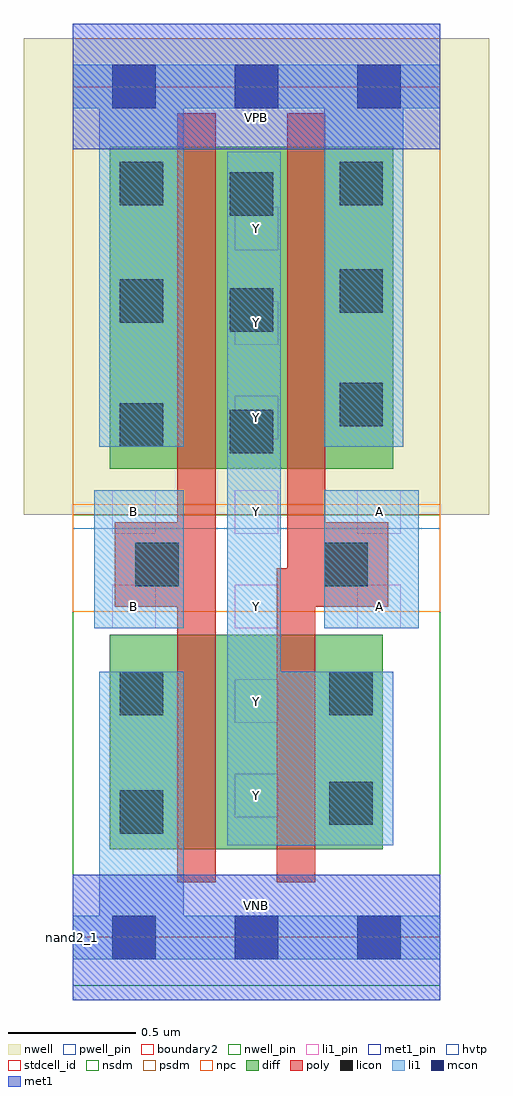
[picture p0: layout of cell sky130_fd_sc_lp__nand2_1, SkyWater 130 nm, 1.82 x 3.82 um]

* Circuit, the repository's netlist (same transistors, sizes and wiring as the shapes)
* Copyright 2020 The SkyWater PDK Authors
*
* Licensed under the Apache License, Version 2.0 (the "License");
* you may not use this file except in compliance with the License.
* You may obtain a copy of the License at
*
*     https://www.apache.org/licenses/LICENSE-2.0
*
* Unless required by applicable law or agreed to in writing, software
* distributed under the License is distributed on an "AS IS" BASIS,
* WITHOUT WARRANTIES OR CONDITIONS OF ANY KIND, either express or implied.
* See the License for the specific language governing permissions and
* limitations under the License.
*
* SPDX-License-Identifier: Apache-2.0

.SUBCKT sky130_fd_sc_lp__nand2_1 A B VGND VNB VPB VPWR Y
*.PININFO A:I B:I VGND:I VNB:I VPB:I VPWR:I Y:O
MMP0 Y A VPWR VPB sky130_fd_pr__pfet_01v8_hvt m=1 w=1.26U l=0.15U mult=1 sa=0.265
+ sb=0.265 sd=0.28 area=0.063 perim=1.14
MMP1 Y B VPWR VPB sky130_fd_pr__pfet_01v8_hvt m=1 w=1.26U l=0.15U mult=1 sa=0.265
+ sb=0.265 sd=0.28 area=0.063 perim=1.14
MMN0 Y A sndA VNB sky130_fd_pr__nfet_01v8 m=1 w=0.84U l=0.15U mult=1 sa=0.265 sb=0.265
+ sd=0.28 area=0.063 perim=1.14
MMN1 sndA B VGND VNB sky130_fd_pr__nfet_01v8 m=1 w=0.84U l=0.15U mult=1 sa=0.265
+ sb=0.265 sd=0.28 area=0.063 perim=1.14
.ENDS sky130_fd_sc_lp__nand2_1

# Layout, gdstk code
import gdstk
lib = gdstk.Library(unit=1e-6, precision=1e-09)
def R(c, l, rs):  # rectangles x0, y0, x1, y1
    for r in rs: c.add(gdstk.rectangle(r[:2], r[2:], *l))
def A(c, l, x, y, w, h, nx, ny, dx, dy):  # array of equal rectangles
    R(c, l, [(x+i*dx, y+j*dy, x+i*dx+w, y+j*dy+h) for i in range(nx) for j in range(ny)])
def P(c, l, *ps):  # polygons
    for p in ps: c.add(gdstk.Polygon(p, *l))
nwell_pin = (64, 16)
nwell = (64, 20)
diff = (65, 20)
poly = (66, 20)
licon = (66, 44)
li1_pin = (67, 16)
li1 = (67, 20)
mcon = (67, 44)
met1_pin = (68, 16)
met1 = (68, 20)
hvtp = (78, 44)
stdcell_id = (81, 4)
nsdm = (93, 44)
psdm = (94, 20)
npc = (95, 20)
pwell_pin = (122, 16)
boundary2 = (236, 0)

sky130_fd_sc_lp__nand2_1 = lib.new_cell('sky130_fd_sc_lp__nand2_1')
R(sky130_fd_sc_lp__nand2_1, nwell_pin, [(0,3.085,1.44,3.33)])
R(sky130_fd_sc_lp__nand2_1, nwell, [(-0.19,1.655,1.63,3.52)])
R(sky130_fd_sc_lp__nand2_1, diff, [(0.145,0.345,1.215,1.185), (0.145,1.835,1.255,3.095)])
P(sky130_fd_sc_lp__nand2_1, poly, [(0.56,3.225),(0.41,3.225),(0.41,1.625),(0.165,1.625),(0.165,1.295),(0.41,1.295),(0.41,0.215),(0.56,0.215)],
  [(1.235,1.625),(0.99,1.625),(0.99,3.225),(0.84,3.225),(0.84,1.445),(0.8,1.445),(0.8,0.215),(0.95,0.215),(0.95,1.295),(1.235,1.295)])
R(sky130_fd_sc_lp__nand2_1, licon, [(0.185,0.405,0.355,0.575), (1.005,0.44,1.175,0.61), (0.185,0.87,0.355,1.04), (1.005,0.87,1.175,1.04), (0.245,1.375,0.415,1.545), (0.985,1.375,1.155,1.545), (0.615,1.895,0.785,2.065), (0.185,1.92,0.355,2.09), (1.045,2,1.215,2.17), (0.615,2.37,0.785,2.54), (0.185,2.405,0.355,2.575), (1.045,2.445,1.215,2.615), (0.615,2.825,0.785,2.995), (0.185,2.865,0.355,3.035), (1.045,2.865,1.215,3.035)])
A(sky130_fd_sc_lp__nand2_1, li1_pin, 0.155, 1.21, 0.17, 0.17, 3, 2, 0.48, 0.37)
A(sky130_fd_sc_lp__nand2_1, li1_pin, 0.635, 1.95, 0.17, 0.17, 1, 3, 0, 0.37)
R(sky130_fd_sc_lp__nand2_1, li1_pin, [(0.635,0.47,0.805,0.64), (0.635,0.84,0.805,1.01)])
R(sky130_fd_sc_lp__nand2_1, li1, [(0.085,1.21,0.435,1.75), (0.985,1.21,1.355,1.75)])
P(sky130_fd_sc_lp__nand2_1, li1, [(0.985,1.92),(0.985,3.245),(0.435,3.245),(0.435,1.92),(0.105,1.92),(0.105,3.245),(0,3.245),(0,3.415),(1.44,3.415),(1.44,3.245),(1.295,3.245),(1.295,1.92)],
  [(0.105,0.085),(0.105,1.04),(0.435,1.04),(0.435,0.085),(1.44,0.085),(1.44,-0.085),(0,-0.085),(0,0.085)],
  [(0.605,3.075),(0.815,3.075),(0.815,1.04),(1.255,1.04),(1.255,0.36),(0.605,0.36)])
A(sky130_fd_sc_lp__nand2_1, mcon, 0.155, -0.085, 0.17, 0.17, 3, 2, 0.48, 3.33)
R(sky130_fd_sc_lp__nand2_1, met1_pin, [(0,0,1.44,0.245), (0,3.085,1.44,3.33)])
R(sky130_fd_sc_lp__nand2_1, met1, [(0,-0.245,1.44,0.245), (0,3.085,1.44,3.575)])
R(sky130_fd_sc_lp__nand2_1, hvtp, [(0,1.6,1.44,3.33)])
R(sky130_fd_sc_lp__nand2_1, stdcell_id, [(0,0,1.44,3.33)])
R(sky130_fd_sc_lp__nand2_1, nsdm, [(0,-0.19,1.44,1.655)])
R(sky130_fd_sc_lp__nand2_1, psdm, [(0,1.655,1.44,3.52)])
R(sky130_fd_sc_lp__nand2_1, npc, [(0,1.275,1.44,1.695)])
R(sky130_fd_sc_lp__nand2_1, pwell_pin, [(0,0,1.44,0.245)])
R(sky130_fd_sc_lp__nand2_1, boundary2, [(0,0,1.44,3.33)])
sky130_fd_sc_lp__nand2_1.add(gdstk.Label('VNB', (0.72,0.123), layer=64, texttype=59))
sky130_fd_sc_lp__nand2_1.add(gdstk.Label('VPB', (0.72,3.208), layer=64, texttype=5))
sky130_fd_sc_lp__nand2_1.add(gdstk.Label('nand2_1', (0,0), layer=83, texttype=44))
sky130_fd_sc_lp__nand2_1.add(gdstk.Label('VPWR', (0.72,3.208), layer=68, texttype=5))
sky130_fd_sc_lp__nand2_1.add(gdstk.Label('VGND', (0.72,0.123), layer=68, texttype=5))
sky130_fd_sc_lp__nand2_1.add(gdstk.Label('A', (1.2,1.295), layer=67, texttype=5))
sky130_fd_sc_lp__nand2_1.add(gdstk.Label('A', (1.2,1.665), layer=67, texttype=5))
sky130_fd_sc_lp__nand2_1.add(gdstk.Label('Y', (0.72,0.555), layer=67, texttype=5))
sky130_fd_sc_lp__nand2_1.add(gdstk.Label('Y', (0.72,0.925), layer=67, texttype=5))
sky130_fd_sc_lp__nand2_1.add(gdstk.Label('Y', (0.72,1.295), layer=67, texttype=5))
sky130_fd_sc_lp__nand2_1.add(gdstk.Label('Y', (0.72,1.665), layer=67, texttype=5))
sky130_fd_sc_lp__nand2_1.add(gdstk.Label('Y', (0.72,2.035), layer=67, texttype=5))
sky130_fd_sc_lp__nand2_1.add(gdstk.Label('Y', (0.72,2.405), layer=67, texttype=5))
sky130_fd_sc_lp__nand2_1.add(gdstk.Label('Y', (0.72,2.775), layer=67, texttype=5))
sky130_fd_sc_lp__nand2_1.add(gdstk.Label('B', (0.24,1.295), layer=67, texttype=5))
sky130_fd_sc_lp__nand2_1.add(gdstk.Label('B', (0.24,1.665), layer=67, texttype=5))

lib.write_gds('sky130_fd_sc_lp__nand2_1.gds')
